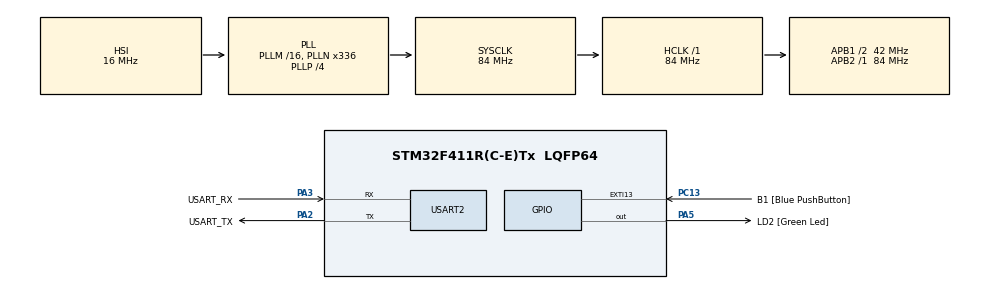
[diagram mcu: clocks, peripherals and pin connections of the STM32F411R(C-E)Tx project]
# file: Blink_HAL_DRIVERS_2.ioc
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Mcu.Family=STM32F4
Mcu.Name=STM32F411R(C-E)Tx
Mcu.Package=LQFP64
NVIC.PriorityGroup=NVIC_PRIORITYGROUP_0
PA13.GPIO_Label=TMS
PA13.Mode=Serial_Wire
PA13.Signal=SYS_JTMS-SWDIO
PA14.GPIO_Label=TCK
PA14.Mode=Serial_Wire
PA14.Signal=SYS_JTCK-SWCLK
PA2.GPIO_Label=USART_TX
PA2.Mode=Asynchronous
PA2.Signal=USART2_TX
PA3.GPIO_Label=USART_RX
PA3.Mode=Asynchronous
PA3.Signal=USART2_RX
PA5.GPIO_Label=LD2 [Green Led]
PA5.Signal=GPIO_Output
PB3.GPIO_Label=SWO
PB3.Signal=SYS_JTDO-SWO
PC13-ANTI_TAMP.GPIO_Label=B1 [Blue PushButton]
PC13-ANTI_TAMP.GPIO_ModeDefaultEXTI=GPIO_MODE_IT_FALLING
PC13-ANTI_TAMP.Signal=GPXTI13
PC14-OSC32_IN.Mode=LSE-External-Oscillator
PC14-OSC32_IN.Signal=RCC_OSC32_IN
PC15-OSC32_OUT.Mode=LSE-External-Oscillator
PC15-OSC32_OUT.Signal=RCC_OSC32_OUT
PH0\ -\ OSC_IN.Mode=HSE-External-Clock-Source
PH0\ -\ OSC_IN.Signal=RCC_OSC_IN
PH1\ -\ OSC_OUT.Mode=HSE-External-Clock-Source
PH1\ -\ OSC_OUT.Signal=RCC_OSC_OUT
ProjectManager.HeapSize=0x200
ProjectManager.StackSize=0x400
ProjectManager.TargetToolchain=STM32CubeIDE
RCC.48MHZClocksFreq_Value=84000000
RCC.AHBFreq_Value=84000000
RCC.APB1CLKDivider=RCC_HCLK_DIV2
RCC.APB1Freq_Value=42000000
RCC.APB1TimFreq_Value=84000000
RCC.APB2Freq_Value=84000000
RCC.APB2TimFreq_Value=84000000
RCC.CortexFreq_Value=84000000
RCC.FLatency-AdvancedSettings=FLASH_LATENCY_2
RCC.HCLKFreq_Value=84000000
RCC.HSE_VALUE=8000000
RCC.HSI_VALUE=16000000
RCC.PLLN=336
RCC.PLLP=RCC_PLLP_DIV4
RCC.SYSCLKFreq_VALUE=84000000
RCC.SYSCLKSource=RCC_SYSCLKSOURCE_PLLCLK
RCC.VCOOutputFreq_Value=336000000
USART2.VirtualMode=VM_ASYNC
board=NUCLEO-F411RE

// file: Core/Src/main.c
/* USER CODE BEGIN Header */
/**
  ******************************************************************************
  * @file           : main.c
  * @brief          : Main program body
  ******************************************************************************
  * @attention
  *
  * Copyright (c) 2023 STMicroelectronics.
  * All rights reserved.
  *
  * This software is licensed under terms that can be found in the LICENSE file
  * in the root directory of this software component.
  * If no LICENSE file comes with this software, it is provided AS-IS.
  *
  ******************************************************************************
  */
/* USER CODE END Header */
#include "main.h"

UART_HandleTypeDef huart2;

void SystemClock_Config(void);
static void MX_GPIO_Init(void);
static void MX_USART2_UART_Init(void);

/* USER CODE BEGIN 0 */
int8_t counter1 = 0xFF;
int16_t counter3 = 0xFF;
int32_t counter4 = 0xFF;
int8_t counter7 = 0xFF;
/* USER CODE END 0 */

int main(void)
{
  /* USER CODE BEGIN 1 */
	int8_t counterValues[2];
  /* USER CODE END 1 */

  /* MCU Configuration--------------------------------------------------------*/

  /* Reset of all peripherals, Initializes the Flash interface and the Systick. */
  HAL_Init();

  /* Configure the system clock */
  SystemClock_Config();

  /* Initialize all configured peripherals */
  MX_GPIO_Init();
  MX_USART2_UART_Init();

  /* Infinite loop */
  /* USER CODE BEGIN WHILE */
  while (1) {
	  uint16_t counter2 = 0;
	  uint16_t counter5 = 0;
	  uint16_t counter6 = 0;

	  HAL_Delay(200);
	  for(uint8_t i = 0; i < 2; i++){
	  	counter2++;
	  	if(counter2%2){
	  		counter1++;
	  		counter5+=counter2;
	  		counter6*=counter5+counter1;
	  	}
	  		  //Doe niets
	  }

	  counterValues[0] = counter1 + counterValues[0];
	  counterValues[1] = counter2 + counterValues[1];

	  counter3 = counter2 + counter1;
	  counter4 = counter1 + counter2*2;
	  counter7 = counter4 + counter3;

	  HAL_GPIO_TogglePin(LD2_GPIO_Port, LD2_Pin);

    /* USER CODE END WHILE */

  }
}

void SystemClock_Config(void)
{
  RCC_OscInitTypeDef RCC_OscInitStruct = {0};
  RCC_ClkInitTypeDef RCC_ClkInitStruct = {0};

  /** Configure the main internal regulator output voltage
  */
  __HAL_RCC_PWR_CLK_ENABLE();
  __HAL_PWR_VOLTAGESCALING_CONFIG(PWR_REGULATOR_VOLTAGE_SCALE1);

  /** Initializes the RCC Oscillators according to the specified parameters
  * in the RCC_OscInitTypeDef structure.
  */
  RCC_OscInitStruct.OscillatorType = RCC_OSCILLATORTYPE_HSI;
  RCC_OscInitStruct.HSIState = RCC_HSI_ON;
  RCC_OscInitStruct.HSICalibrationValue = RCC_HSICALIBRATION_DEFAULT;
  RCC_OscInitStruct.PLL.PLLState = RCC_PLL_ON;
  RCC_OscInitStruct.PLL.PLLSource = RCC_PLLSOURCE_HSI;
  RCC_OscInitStruct.PLL.PLLM = 16;
  RCC_OscInitStruct.PLL.PLLN = 336;
  RCC_OscInitStruct.PLL.PLLP = RCC_PLLP_DIV4;
  RCC_OscInitStruct.PLL.PLLQ = 4;
  if (HAL_RCC_OscConfig(&RCC_OscInitStruct) != HAL_OK)
  {
    Error_Handler();
  }

  /** Initializes the CPU, AHB and APB buses clocks
  */
  RCC_ClkInitStruct.ClockType = RCC_CLOCKTYPE_HCLK|RCC_CLOCKTYPE_SYSCLK
                              |RCC_CLOCKTYPE_PCLK1|RCC_CLOCKTYPE_PCLK2;
  RCC_ClkInitStruct.SYSCLKSource = RCC_SYSCLKSOURCE_PLLCLK;
  RCC_ClkInitStruct.AHBCLKDivider = RCC_SYSCLK_DIV1;
  RCC_ClkInitStruct.APB1CLKDivider = RCC_HCLK_DIV2;
  RCC_ClkInitStruct.APB2CLKDivider = RCC_HCLK_DIV1;

  if (HAL_RCC_ClockConfig(&RCC_ClkInitStruct, FLASH_LATENCY_2) != HAL_OK)
  {
    Error_Handler();
  }
}

static void MX_USART2_UART_Init(void)
{

  huart2.Instance = USART2;
  huart2.Init.BaudRate = 115200;
  huart2.Init.WordLength = UART_WORDLENGTH_8B;
  huart2.Init.StopBits = UART_STOPBITS_1;
  huart2.Init.Parity = UART_PARITY_NONE;
  huart2.Init.Mode = UART_MODE_TX_RX;
  huart2.Init.HwFlowCtl = UART_HWCONTROL_NONE;
  huart2.Init.OverSampling = UART_OVERSAMPLING_16;
  if (HAL_UART_Init(&huart2) != HAL_OK)
  {
    Error_Handler();
  }

}

static void MX_GPIO_Init(void)
{
  GPIO_InitTypeDef GPIO_InitStruct = {0};

  /* GPIO Ports Clock Enable */
  __HAL_RCC_GPIOC_CLK_ENABLE();
  __HAL_RCC_GPIOH_CLK_ENABLE();
  __HAL_RCC_GPIOA_CLK_ENABLE();
  __HAL_RCC_GPIOB_CLK_ENABLE();

  /*Configure GPIO pin Output Level */
  HAL_GPIO_WritePin(LD2_GPIO_Port, LD2_Pin, GPIO_PIN_RESET);

  /*Configure GPIO pin : B1_Pin */
  GPIO_InitStruct.Pin = B1_Pin;
  GPIO_InitStruct.Mode = GPIO_MODE_IT_FALLING;
  GPIO_InitStruct.Pull = GPIO_NOPULL;
  HAL_GPIO_Init(B1_GPIO_Port, &GPIO_InitStruct);

  /*Configure GPIO pin : LD2_Pin */
  GPIO_InitStruct.Pin = LD2_Pin;
  GPIO_InitStruct.Mode = GPIO_MODE_OUTPUT_PP;
  GPIO_InitStruct.Pull = GPIO_NOPULL;
  GPIO_InitStruct.Speed = GPIO_SPEED_FREQ_LOW;
  HAL_GPIO_Init(LD2_GPIO_Port, &GPIO_InitStruct);

}

void Error_Handler(void)
{
  __disable_irq();
  while (1)
  {
  }
}
